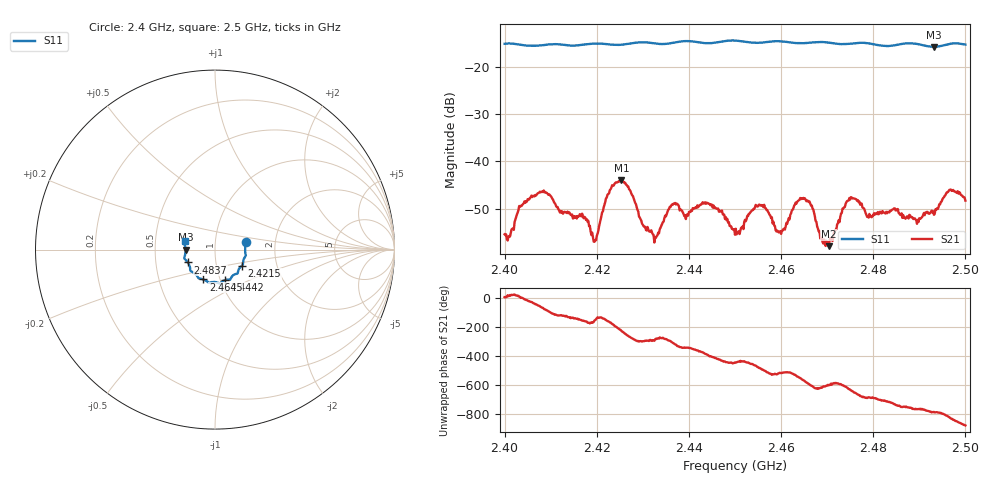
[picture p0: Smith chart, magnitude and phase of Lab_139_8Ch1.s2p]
# Hz S RI R 50
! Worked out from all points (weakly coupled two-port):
!   601 points, 2.4 GHz to 2.5 GHz, reference 50 ohm
!   highest |S21| = -44.02 dB at 2.4253 GHz (marker M1); lowest = -58.0 dB at 2.4703 GHz (marker M2)
!   lowest |S11| = -15.7 dB at 2.4932 GHz (marker M3), VSWR 1.39, Z = 35.9 - j0.0537 ohm
!   |S11| at or under -10 dB: start of sweep to end of sweep
!   S12 and S22 are empty: the file has one direction only
!   S11 on the Smith chart (normalised r, x): 2.4 GHz: 1.41, +0.12; 2.4215 GHz: 1.33, -0.25; 2.4442 GHz: 1.05, -0.37; 2.4645 GHz: 0.83, -0.29; 2.4837 GHz: 0.73, -0.11; 2.5 GHz: 0.71, +0.07
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2.4e9  0.1716 0.0402  0.00167 0.000242  0 0  0 0
2.408e9  0.1685 -0.0205  0.00224 -0.00418  0 0  0 0
2.416667e9  0.1568 -0.0698  -0.00228 -0.00127  0 0  0 0
2.419667e9  0.1549 -0.0858  -0.00128 -0.00071  0 0  0 0
2.4215e9  0.1511 -0.0898  -0.00251 -0.00207  0 0  0 0
2.425333e9  0.1327 -0.1095  -0.00442 0.00449  0 0  0 0
2.430333e9  0.1254 -0.1328  0.0009 0.00181  0 0  0 0
2.433333e9  0.1084 -0.1385  0.000249 0.00174  0 0  0 0
2.4365e9  0.0901 -0.1563  0.00218 0.0027  0 0  0 0
2.444167e9  0.0566 -0.1694  0.00301 -0.002  0 0  0 0
2.45e9  0.025 -0.1892  0.000155 -0.00166  0 0  0 0
2.4555e9  -0.0125 -0.1805  -0.00206 -0.00272  0 0  0 0
2.46e9  -0.0358 -0.1837  -0.00157 -0.000652  0 0  0 0
2.4645e9  -0.0658 -0.166  -0.00378 0.00152  0 0  0 0
2.466667e9  -0.0826 -0.1621  -0.00134 0.00313  0 0  0 0
2.470333e9  -0.0945 -0.1546  -0.000576 0.00112  0 0  0 0
2.474833e9  -0.1217 -0.1275  4.46e-05 0.00409  0 0  0 0
2.483333e9  -0.149 -0.075  0.00292 1.02e-05  0 0  0 0
2.483667e9  -0.1509 -0.0716  0.003 -7.43e-05  0 0  0 0
2.493167e9  -0.1635 -0.000726  0.001 -0.00252  0 0  0 0
2.4965e9  -0.1724 0.0326  -0.00132 -0.0048  0 0  0 0
2.5e9  -0.1652 0.0504  -0.00366 -0.00116  0 0  0 0
